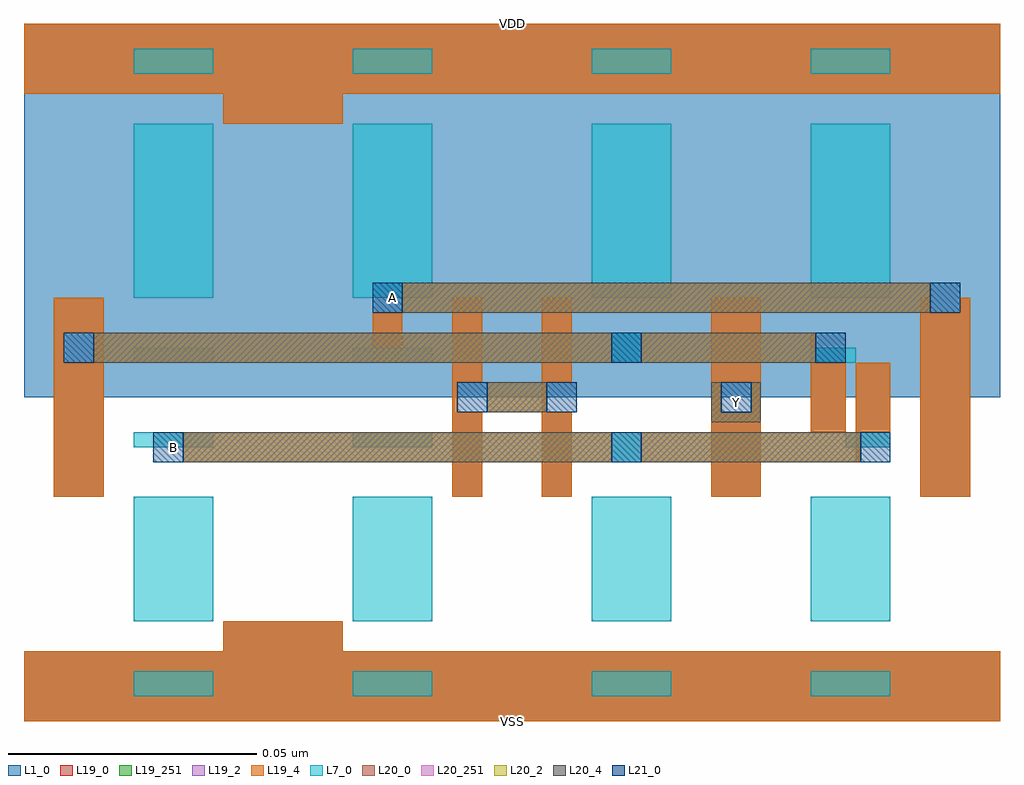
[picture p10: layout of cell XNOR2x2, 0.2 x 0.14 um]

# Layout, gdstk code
import gdstk
lib = gdstk.Library(unit=1e-6, precision=1e-09)
def R(c, l, rs):  # rectangles x0, y0, x1, y1
    for r in rs: c.add(gdstk.rectangle(r[:2], r[2:], *l))
L1_0 = (1, 0)
L7_0 = (7, 0)
L19_0 = (19, 0)
L19_2 = (19, 2)
L19_4 = (19, 4)
L19_251 = (19, 251)
L20_0 = (20, 0)
L20_2 = (20, 2)
L20_4 = (20, 4)
L20_251 = (20, 251)
L21_0 = (21, 0)

xnor2x2 = lib.new_cell('XNOR2x2')
R(xnor2x2, L1_0, [(0,0.065,0.196,0.14)])
R(xnor2x2, L7_0, [(0.022,0.005,0.038,0.01), (0.066,0.005,0.082,0.01), (0.114,0.005,0.13,0.01), (0.158,0.005,0.174,0.01), (0.022,0.02,0.038,0.045), (0.066,0.02,0.082,0.045), (0.114,0.02,0.13,0.045), (0.158,0.02,0.174,0.045), (0.118,0.052,0.124,0.058), (0.022,0.055,0.038,0.058), (0.066,0.055,0.082,0.058), (0.165,0.055,0.174,0.058), (0.022,0.072,0.038,0.075), (0.066,0.072,0.082,0.075), (0.118,0.072,0.124,0.078), (0.158,0.072,0.167,0.075), (0.022,0.085,0.038,0.12), (0.066,0.085,0.082,0.12), (0.114,0.085,0.13,0.12), (0.158,0.085,0.174,0.12), (0.022,0.13,0.038,0.135), (0.066,0.13,0.082,0.135), (0.114,0.13,0.13,0.135), (0.158,0.13,0.174,0.135)])
R(xnor2x2, L19_0, [(0,0,0.196,0.014), (0.04,0.014,0.064,0.02), (0.006,0.045,0.016,0.072), (0.086,0.045,0.092,0.062), (0.104,0.045,0.11,0.062), (0.138,0.045,0.148,0.062), (0.18,0.045,0.19,0.082), (0.167,0.052,0.168,0.058), (0.158,0.058,0.165,0.072), (0.167,0.058,0.174,0.072), (0.086,0.062,0.087,0.068), (0.104,0.062,0.105,0.068), (0.138,0.062,0.14,0.068), (0.146,0.062,0.148,0.068), (0.086,0.068,0.092,0.085), (0.104,0.068,0.11,0.085), (0.138,0.068,0.148,0.085), (0.006,0.072,0.008,0.078), (0.014,0.072,0.016,0.078), (0.07,0.072,0.076,0.082), (0.158,0.072,0.159,0.078), (0.006,0.078,0.016,0.085), (0.18,0.082,0.182,0.085), (0.188,0.082,0.19,0.085), (0.04,0.12,0.064,0.126), (0,0.126,0.196,0.14)])
R(xnor2x2, L19_2, [(0,0,0.196,0.014), (0.04,0.014,0.064,0.02), (0.006,0.045,0.016,0.072), (0.086,0.045,0.092,0.062), (0.104,0.045,0.11,0.062), (0.138,0.045,0.148,0.062), (0.18,0.045,0.19,0.082), (0.167,0.052,0.168,0.058), (0.158,0.058,0.165,0.072), (0.167,0.058,0.174,0.072), (0.086,0.062,0.087,0.068), (0.104,0.062,0.105,0.068), (0.138,0.062,0.14,0.068), (0.146,0.062,0.148,0.068), (0.086,0.068,0.092,0.085), (0.104,0.068,0.11,0.085), (0.138,0.068,0.148,0.085), (0.006,0.072,0.008,0.078), (0.014,0.072,0.016,0.078), (0.07,0.072,0.076,0.082), (0.158,0.072,0.159,0.078), (0.006,0.078,0.016,0.085), (0.18,0.082,0.182,0.085), (0.188,0.082,0.19,0.085), (0.04,0.12,0.064,0.126), (0,0.126,0.196,0.14)])
R(xnor2x2, L19_4, [(0,0,0.196,0.014), (0.04,0.014,0.064,0.02), (0.006,0.045,0.016,0.072), (0.086,0.045,0.092,0.062), (0.104,0.045,0.11,0.062), (0.138,0.045,0.148,0.062), (0.18,0.045,0.19,0.082), (0.167,0.052,0.168,0.058), (0.158,0.058,0.165,0.072), (0.167,0.058,0.174,0.072), (0.086,0.062,0.087,0.068), (0.104,0.062,0.105,0.068), (0.138,0.062,0.14,0.068), (0.146,0.062,0.148,0.068), (0.086,0.068,0.092,0.085), (0.104,0.068,0.11,0.085), (0.138,0.068,0.148,0.085), (0.006,0.072,0.008,0.078), (0.014,0.072,0.016,0.078), (0.07,0.072,0.076,0.082), (0.158,0.072,0.159,0.078), (0.006,0.078,0.016,0.085), (0.18,0.082,0.182,0.085), (0.188,0.082,0.19,0.085), (0.04,0.12,0.064,0.126), (0,0.126,0.196,0.14)])
R(xnor2x2, L19_251, [(0,0,0.196,0.014), (0.04,0.014,0.064,0.02), (0.006,0.045,0.016,0.072), (0.086,0.045,0.092,0.062), (0.104,0.045,0.11,0.062), (0.138,0.045,0.148,0.062), (0.18,0.045,0.19,0.082), (0.167,0.052,0.168,0.058), (0.158,0.058,0.165,0.072), (0.167,0.058,0.174,0.072), (0.086,0.062,0.087,0.068), (0.104,0.062,0.105,0.068), (0.138,0.062,0.14,0.068), (0.146,0.062,0.148,0.068), (0.086,0.068,0.092,0.085), (0.104,0.068,0.11,0.085), (0.138,0.068,0.148,0.085), (0.006,0.072,0.008,0.078), (0.014,0.072,0.016,0.078), (0.07,0.072,0.076,0.082), (0.158,0.072,0.159,0.078), (0.006,0.078,0.016,0.085), (0.18,0.082,0.182,0.085), (0.188,0.082,0.19,0.085), (0.04,0.12,0.064,0.126), (0,0.126,0.196,0.14)])
R(xnor2x2, L20_0, [(0.032,0.052,0.118,0.058), (0.124,0.052,0.168,0.058), (0.138,0.06,0.148,0.062), (0.093,0.062,0.105,0.068), (0.138,0.062,0.14,0.068), (0.146,0.062,0.148,0.068), (0.014,0.072,0.118,0.078), (0.124,0.072,0.159,0.078), (0.076,0.082,0.182,0.088)])
R(xnor2x2, L20_2, [(0.032,0.052,0.118,0.058), (0.124,0.052,0.168,0.058), (0.138,0.06,0.148,0.062), (0.093,0.062,0.105,0.068), (0.138,0.062,0.14,0.068), (0.146,0.062,0.148,0.068), (0.014,0.072,0.118,0.078), (0.124,0.072,0.159,0.078), (0.076,0.082,0.182,0.088)])
R(xnor2x2, L20_4, [(0.032,0.052,0.118,0.058), (0.124,0.052,0.168,0.058), (0.138,0.06,0.148,0.062), (0.093,0.062,0.105,0.068), (0.138,0.062,0.14,0.068), (0.146,0.062,0.148,0.068), (0.014,0.072,0.118,0.078), (0.124,0.072,0.159,0.078), (0.076,0.082,0.182,0.088)])
R(xnor2x2, L20_251, [(0.032,0.052,0.118,0.058), (0.124,0.052,0.168,0.058), (0.138,0.06,0.148,0.062), (0.093,0.062,0.105,0.068), (0.138,0.062,0.14,0.068), (0.146,0.062,0.148,0.068), (0.014,0.072,0.118,0.078), (0.124,0.072,0.159,0.078), (0.076,0.082,0.182,0.088)])
R(xnor2x2, L21_0, [(0.026,0.052,0.032,0.058), (0.118,0.052,0.124,0.058), (0.168,0.052,0.174,0.058), (0.087,0.062,0.093,0.068), (0.105,0.062,0.111,0.068), (0.14,0.062,0.146,0.068), (0.008,0.072,0.014,0.078), (0.118,0.072,0.124,0.078), (0.159,0.072,0.165,0.078), (0.07,0.082,0.076,0.088), (0.182,0.082,0.188,0.088)])
xnor2x2.add(gdstk.Label('A', (0.074,0.085), layer=20, texttype=0))
xnor2x2.add(gdstk.Label('B', (0.03,0.055), layer=20, texttype=0))
xnor2x2.add(gdstk.Label('Y', (0.143,0.064), layer=20, texttype=0))
xnor2x2.add(gdstk.Label('VSS', (0.098,0), layer=19, texttype=0))
xnor2x2.add(gdstk.Label('VDD', (0.098,0.14), layer=19, texttype=0))

lib.write_gds('XNOR2x2.gds')
